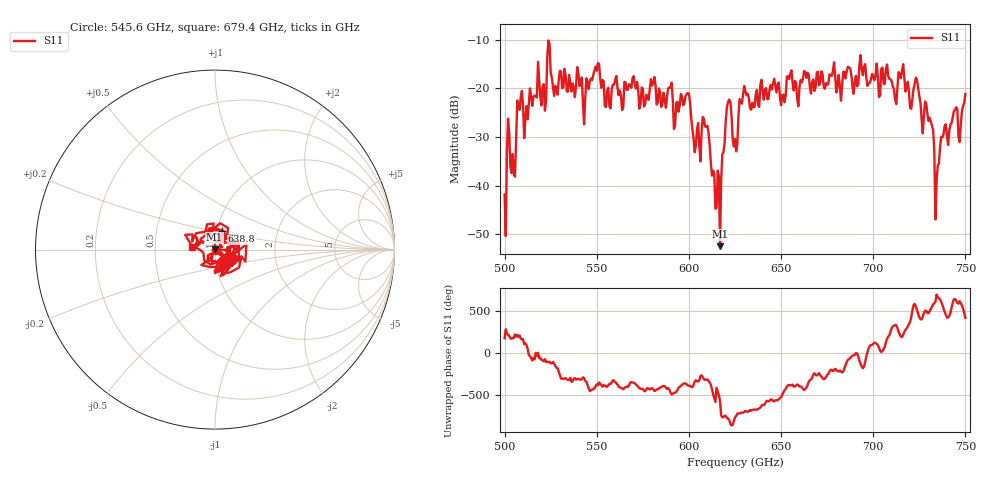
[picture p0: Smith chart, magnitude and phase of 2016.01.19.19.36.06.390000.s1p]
!Created with skrf (http://scikit-rf.org).
# GHz S RI R 50.0
!freq ReS11 ImS11
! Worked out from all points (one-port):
!   401 points, 500 GHz to 750 GHz, reference 50 ohm
!   lowest |S11| = -52.5 dB at 616.9 GHz (marker M1), VSWR 1.00, Z = 49.8 + j0.104 ohm
!   |S11| at or under -10 dB: start of sweep to end of sweep
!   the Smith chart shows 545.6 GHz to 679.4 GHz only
!   S11 on the Smith chart (normalised r, x): 545.6 GHz: 1.09, -0.19; 638.8 GHz: 1.06, +0.22; 679.4 GHz: 0.78, +0.03
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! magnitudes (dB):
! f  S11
! 500 GHz  -41.8
! 502.5 GHz  -29.1
! 505 GHz  -37.6
! 508.1 GHz  -24.4
! 521.2 GHz  -19.2
! 524.4 GHz  -10.9
! 527.5 GHz  -19.5
! 531.2 GHz  -20.0
! 545.6 GHz  -20.2
! 562.5 GHz  -20.5
! 580.6 GHz  -19.0
! 593.8 GHz  -22.8
! 605 GHz  -27.1
! 608.8 GHz  -27.9
! 615.6 GHz  -36.9
! 616.9 GHz  -52.5
! 621.2 GHz  -22.8
! 625 GHz  -30.4
! 628.8 GHz  -23.2
! 638.8 GHz  -19.3
! 656.2 GHz  -18.9
! 679.4 GHz  -17.9
! 687.5 GHz  -15.9
! 718.8 GHz  -18.7
! 729.4 GHz  -25.2
! 734.4 GHz  -39.1
! 738.1 GHz  -29.5
! 750 GHz  -21.2
